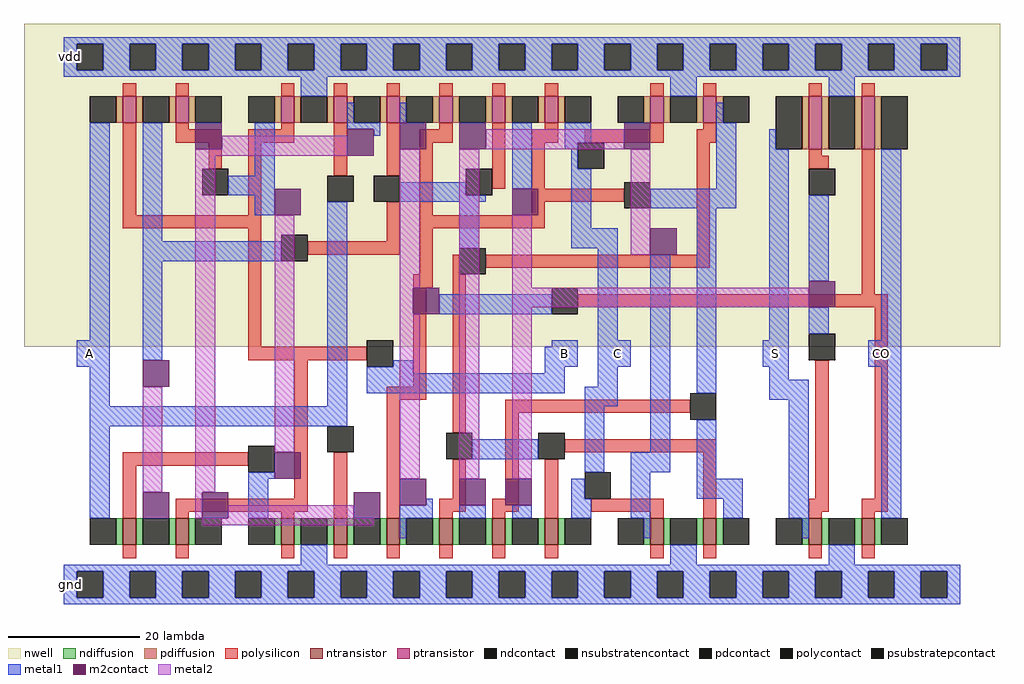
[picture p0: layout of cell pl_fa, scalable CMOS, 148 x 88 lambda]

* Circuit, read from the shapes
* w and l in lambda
.subckt pl_fa A B C S CO vdd gnd
M1 n1 n2 A gnd nfet w=4 l=2
M2 n3 B n1 gnd nfet w=4 l=2
M3 gnd B n2 gnd nfet w=4 l=2
M4 n3 A gnd gnd nfet w=4 l=2
M5 n4 n5 n3 gnd nfet w=4 l=2
M6 n6 n1 n4 gnd nfet w=4 l=2
M7 n7 n5 n6 gnd nfet w=4 l=2
M8 C n1 n7 gnd nfet w=4 l=2
M9 gnd C n6 gnd nfet w=4 l=2
M10 n5 n1 gnd gnd nfet w=4 l=2
M11 gnd n7 S gnd nfet w=4 l=2
M12 CO n4 gnd gnd nfet w=4 l=2
M13 n1 B A vdd pfet w=4 l=2
M14 n3 n2 n1 vdd pfet w=4 l=2
M15 vdd B n2 vdd pfet w=4 l=2
M16 n3 A vdd vdd pfet w=4 l=2
M17 n4 n1 n3 vdd pfet w=4 l=2
M18 n6 n5 n4 vdd pfet w=4 l=2
M19 n7 n1 n6 vdd pfet w=4 l=2
M20 C n5 n7 vdd pfet w=4 l=2
M21 vdd C n6 vdd pfet w=4 l=2
M22 n5 n1 vdd vdd pfet w=4 l=2
M23 vdd n7 S vdd pfet w=8 l=2
M24 CO n4 vdd vdd pfet w=8 l=2
.ends

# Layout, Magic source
magic
tech scmos
<< nwell >>
rect -6 36 142 85
<< ndiffusion >>
rect 8 6 9 10
rect 11 6 12 10
rect 16 6 17 10
rect 19 6 20 10
rect 32 6 33 10
rect 35 6 36 10
rect 40 6 41 10
rect 43 6 44 10
rect 48 6 49 10
rect 51 6 52 10
rect 56 6 57 10
rect 59 6 60 10
rect 64 6 65 10
rect 67 6 68 10
rect 72 6 73 10
rect 75 6 76 10
rect 88 6 89 10
rect 91 6 92 10
rect 96 6 97 10
rect 99 6 100 10
rect 112 6 113 10
rect 115 6 116 10
rect 120 6 121 10
rect 123 6 124 10
<< pdiffusion >>
rect 112 66 113 74
rect 115 66 116 74
rect 120 66 121 74
rect 123 66 124 74
rect 8 70 9 74
rect 11 70 12 74
rect 16 70 17 74
rect 19 70 20 74
rect 32 70 33 74
rect 35 70 36 74
rect 40 70 41 74
rect 43 70 44 74
rect 48 70 49 74
rect 51 70 52 74
rect 56 70 57 74
rect 59 70 60 74
rect 64 70 65 74
rect 67 70 68 74
rect 72 70 73 74
rect 75 70 76 74
rect 88 70 89 74
rect 91 70 92 74
rect 96 70 97 74
rect 99 70 100 74
<< polysilicon >>
rect 9 4 11 6
rect 17 4 19 6
rect 33 4 35 6
rect 41 4 43 6
rect 49 4 51 6
rect 57 4 59 6
rect 65 4 67 6
rect 73 4 75 6
rect 89 4 91 6
rect 97 4 99 6
rect 113 4 115 6
rect 121 4 123 6
rect 9 10 11 18
rect 17 10 19 11
rect 33 10 35 11
rect 41 10 43 20
rect 49 10 51 28
rect 57 10 59 11
rect 65 10 67 11
rect 73 10 75 19
rect 89 10 91 11
rect 97 10 99 20
rect 113 10 115 11
rect 121 10 123 11
rect 17 11 37 13
rect 57 11 61 13
rect 65 11 69 13
rect 80 11 91 13
rect 113 11 116 13
rect 121 11 125 13
rect 35 13 37 34
rect 59 13 61 19
rect 67 13 69 26
rect 114 13 116 34
rect 123 13 125 42
rect 9 18 28 20
rect 76 20 99 22
rect 59 23 61 47
rect 67 26 95 28
rect 49 28 55 30
rect 53 30 55 45
rect 28 34 46 36
rect 28 36 30 54
rect 78 42 125 44
rect 121 44 123 66
rect 53 45 56 47
rect 54 47 56 54
rect 59 47 60 50
rect 64 48 98 50
rect 37 50 51 52
rect 96 50 98 67
rect 49 52 51 58
rect 9 54 30 56
rect 54 54 73 56
rect 9 56 11 70
rect 28 56 30 67
rect 54 56 56 67
rect 71 56 73 58
rect 71 58 85 60
rect 65 60 67 70
rect 71 60 73 67
rect 41 62 43 70
rect 49 62 51 70
rect 22 63 24 67
rect 113 63 116 65
rect 113 65 115 66
rect 17 67 24 69
rect 28 67 35 69
rect 54 67 59 69
rect 71 67 75 69
rect 79 67 91 69
rect 96 67 99 69
rect 17 69 19 70
rect 33 69 35 70
rect 57 69 59 70
rect 73 69 75 70
rect 89 69 91 70
rect 97 69 99 70
rect 9 74 11 76
rect 17 74 19 76
rect 33 74 35 76
rect 41 74 43 76
rect 49 74 51 76
rect 57 74 59 76
rect 65 74 67 76
rect 73 74 75 76
rect 89 74 91 76
rect 97 74 99 76
rect 113 74 115 76
rect 121 74 123 76
<< ntransistor >>
rect 9 6 11 10
rect 17 6 19 10
rect 33 6 35 10
rect 41 6 43 10
rect 49 6 51 10
rect 57 6 59 10
rect 65 6 67 10
rect 73 6 75 10
rect 89 6 91 10
rect 97 6 99 10
rect 113 6 115 10
rect 121 6 123 10
<< ptransistor >>
rect 113 66 115 74
rect 121 66 123 74
rect 9 70 11 74
rect 17 70 19 74
rect 33 70 35 74
rect 41 70 43 74
rect 49 70 51 74
rect 57 70 59 74
rect 65 70 67 74
rect 73 70 75 74
rect 89 70 91 74
rect 97 70 99 74
<< ndcontact >>
rect 4 6 8 10
rect 12 6 16 10
rect 20 6 24 10
rect 28 6 32 10
rect 36 6 40 10
rect 44 6 48 10
rect 52 6 56 10
rect 60 6 64 10
rect 68 6 72 10
rect 76 6 80 10
rect 84 6 88 10
rect 92 6 96 10
rect 100 6 104 10
rect 108 6 112 10
rect 116 6 120 10
rect 124 6 128 10
<< pdcontact >>
rect 108 66 112 74
rect 116 66 120 74
rect 124 66 128 74
rect 4 70 8 74
rect 12 70 16 74
rect 20 70 24 74
rect 28 70 32 74
rect 36 70 40 74
rect 44 70 48 74
rect 52 70 56 74
rect 60 70 64 74
rect 68 70 72 74
rect 76 70 80 74
rect 84 70 88 74
rect 92 70 96 74
rect 100 70 104 74
<< polycontact >>
rect 79 13 83 17
rect 28 17 32 21
rect 58 19 62 23
rect 72 19 76 23
rect 40 20 44 24
rect 95 25 99 29
rect 46 33 50 37
rect 113 34 117 38
rect 74 41 78 45
rect 60 47 64 51
rect 33 49 37 53
rect 85 57 89 61
rect 40 58 44 62
rect 47 58 51 62
rect 21 59 25 63
rect 61 59 65 63
rect 113 59 117 63
rect 78 63 82 67
<< psubstratepcontact >>
rect 2 -2 6 2
rect 10 -2 14 2
rect 18 -2 22 2
rect 26 -2 30 2
rect 34 -2 38 2
rect 42 -2 46 2
rect 50 -2 54 2
rect 58 -2 62 2
rect 66 -2 70 2
rect 74 -2 78 2
rect 82 -2 86 2
rect 90 -2 94 2
rect 98 -2 102 2
rect 106 -2 110 2
rect 114 -2 118 2
rect 122 -2 126 2
rect 130 -2 134 2
<< nsubstratencontact >>
rect 2 78 6 82
rect 10 78 14 82
rect 18 78 22 82
rect 26 78 30 82
rect 34 78 38 82
rect 42 78 46 82
rect 50 78 54 82
rect 58 78 62 82
rect 66 78 70 82
rect 74 78 78 82
rect 82 78 86 82
rect 90 78 94 82
rect 98 78 102 82
rect 106 78 110 82
rect 114 78 118 82
rect 122 78 126 82
rect 130 78 134 82
<< metal1 >>
rect 0 -3 136 -2
rect 0 -2 2 2
rect 6 -2 10 2
rect 14 -2 18 2
rect 22 -2 26 2
rect 30 -2 34 2
rect 38 -2 42 2
rect 46 -2 50 2
rect 54 -2 58 2
rect 62 -2 66 2
rect 70 -2 74 2
rect 78 -2 82 2
rect 86 -2 90 2
rect 94 -2 98 2
rect 102 -2 106 2
rect 110 -2 114 2
rect 118 -2 122 2
rect 126 -2 130 2
rect 134 -2 136 2
rect 0 2 136 3
rect 36 3 40 6
rect 92 3 96 6
rect 116 3 120 6
rect 51 7 52 10
rect 88 7 89 10
rect 112 7 113 10
rect 4 10 7 24
rect 28 10 31 16
rect 51 10 56 12
rect 60 10 64 12
rect 68 10 71 12
rect 77 10 80 13
rect 86 10 89 17
rect 100 10 103 13
rect 110 10 113 28
rect 124 10 127 33
rect 55 12 56 13
rect 77 13 79 16
rect 96 13 103 16
rect 28 16 32 17
rect 96 16 99 25
rect 79 17 82 27
rect 86 17 92 20
rect 62 19 72 22
rect 89 20 92 50
rect 4 24 43 27
rect 4 27 7 33
rect 40 27 43 58
rect 79 27 84 30
rect 107 28 113 31
rect 46 29 76 32
rect 96 29 99 57
rect 81 30 84 33
rect 107 31 110 33
rect 46 32 53 33
rect 73 32 76 33
rect 2 33 7 37
rect 50 33 53 34
rect 73 33 78 36
rect 81 33 86 37
rect 106 33 110 37
rect 122 33 127 37
rect 12 34 15 49
rect 74 36 78 37
rect 4 37 7 70
rect 81 37 84 51
rect 107 37 110 66
rect 124 37 127 66
rect 113 38 116 42
rect 57 41 74 44
rect 113 46 116 59
rect 12 49 33 52
rect 60 51 63 58
rect 77 51 84 54
rect 12 52 15 70
rect 77 54 80 63
rect 29 56 32 59
rect 89 57 102 60
rect 51 58 64 59
rect 25 59 32 62
rect 51 59 61 61
rect 68 60 71 70
rect 99 60 102 70
rect 29 62 32 70
rect 77 63 78 66
rect 76 66 78 67
rect 107 66 108 69
rect 76 67 80 70
rect 47 68 48 69
rect 43 69 48 70
rect 43 70 44 73
rect 51 70 52 73
rect 99 70 100 73
rect 36 74 40 77
rect 92 74 96 77
rect 116 74 120 77
rect 0 77 136 78
rect 0 78 2 82
rect 6 78 10 82
rect 14 78 18 82
rect 22 78 26 82
rect 30 78 34 82
rect 38 78 42 82
rect 46 78 50 82
rect 54 78 58 82
rect 62 78 66 82
rect 70 78 74 82
rect 78 78 82 82
rect 86 78 90 82
rect 94 78 98 82
rect 102 78 106 82
rect 110 78 114 82
rect 118 78 122 82
rect 126 78 130 82
rect 134 78 136 82
rect 0 82 136 83
<< m2contact >>
rect 12 10 16 14
rect 21 10 25 14
rect 44 10 48 14
rect 51 12 55 16
rect 60 12 64 16
rect 67 12 71 16
rect 32 16 36 20
rect 12 30 16 34
rect 53 41 57 45
rect 113 42 117 46
rect 89 50 93 54
rect 32 56 36 60
rect 68 56 72 60
rect 43 65 47 69
rect 20 66 24 70
rect 51 66 55 70
rect 60 66 64 70
rect 85 66 89 70
<< metal2 >>
rect 21 9 47 10
rect 20 10 21 14
rect 25 10 44 12
rect 12 14 15 30
rect 20 14 23 65
rect 51 16 54 41
rect 60 16 63 66
rect 68 16 71 42
rect 32 20 35 56
rect 51 41 53 45
rect 68 42 113 45
rect 51 45 54 66
rect 68 45 71 56
rect 86 50 89 66
rect 20 65 43 66
rect 24 66 43 68
rect 64 66 85 69
<< labels >>
rlabel metal1 s 2 33 6 37 0 A
port 1 nsew signal input
rlabel metal1 s 74 33 78 37 0 B
port 2 nsew signal input
rlabel metal1 s 82 33 86 37 0 C
port 3 nsew signal input
rlabel metal1 s 106 33 110 37 0 S
port 4 nsew signal output
rlabel metal1 s 122 33 126 37 0 CO
port 5 nsew signal output
rlabel metal1 s 0 77 2 83 0 vdd
port 6 nsew power bidirectional
rlabel metal1 s 0 -3 2 3 0 gnd
port 7 nsew ground bidirectional
<< properties >>
string FIXED_BBOX 0 0 136 80
<< end >>
